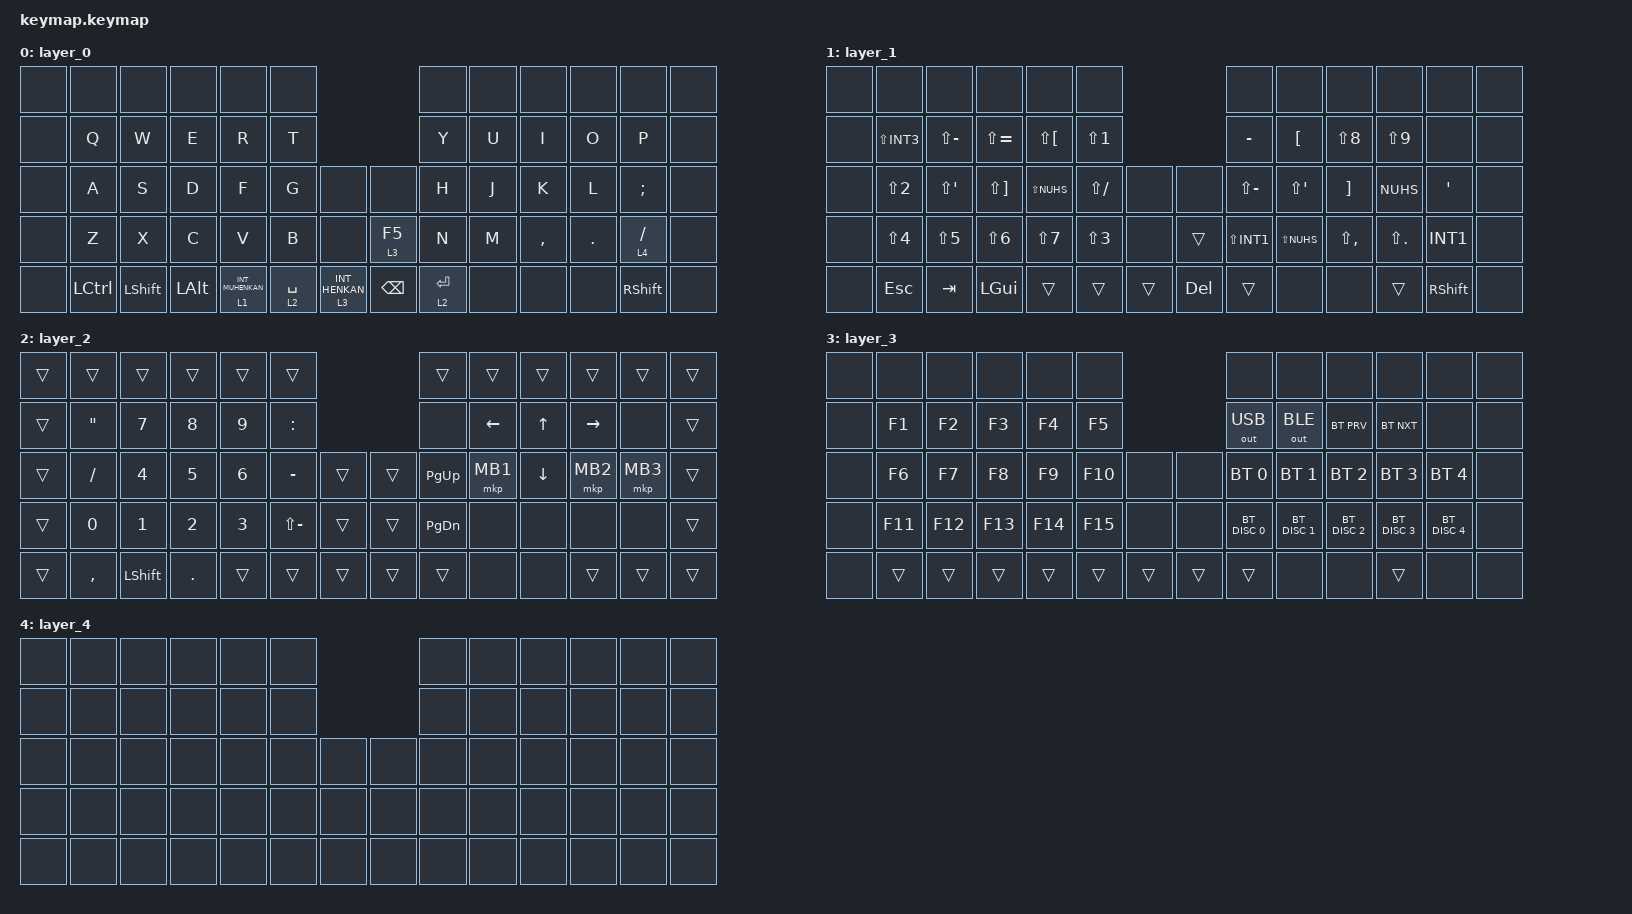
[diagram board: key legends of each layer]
#include <input/processors.dtsi>
#include <behaviors.dtsi>
#include <dt-bindings/zmk/bt.h>
#include <dt-bindings/zmk/keys.h>
#include <dt-bindings/zmk/outputs.h>
#include <dt-bindings/zmk/pointing.h>

/ {
    combos {
        compatible = "zmk,combos";

        bt_clear {
            bindings = <&bt BT_CLR>;
            key-positions = <28 29>;
            layers = <2>;
        };
    };

    keymap {
        compatible = "zmk,keymap";

        layer_0 {
            bindings = <
&none  &none      &none      &none     &none               &none                                         &none        &none  &none      &none    &none            &none
&none  &kp Q      &kp W      &kp E     &kp R               &kp T                                         &kp Y        &kp U  &kp I      &kp O    &kp P            &none
&none  &kp A      &kp S      &kp D     &kp F               &kp G        &none             &none          &kp H        &kp J  &kp K      &kp L    &kp SEMI         &none
&none  &kp Z      &kp X      &kp C     &kp V               &kp B        &none             &lt 3 F5       &kp N        &kp M  &kp COMMA  &kp DOT  &lt 4 SLASH      &none
&none  &kp LCTRL  &kp LSHFT  &kp LALT  &lt 1 INT_MUHENKAN  &lt 2 SPACE  &lt 3 INT_HENKAN  &kp BACKSPACE  &lt 2 ENTER  &none  &none      &none    &kp RIGHT_SHIFT  &none
            >;
        };

        layer_1 {
            bindings = <
&none  &none         &none          &none          &none         &none                             &none          &none         &none          &none        &none            &none
&none  &kp LS(INT3)  &kp LS(MINUS)  &kp LS(EQUAL)  &kp LS(LBKT)  &kp LS(N1)                        &kp MINUS      &kp LBKT      &kp LS(N8)     &kp LS(N9)   &none            &none
&none  &kp LS(N2)    &kp LS(SQT)    &kp LS(RBKT)   &kp LS(NUHS)  &kp LS(FSLH)  &none   &none       &kp LS(MINUS)  &kp LS(SQT)   &kp RBKT       &kp NUHS     &kp SQT          &none
&none  &kp LS(N4)    &kp LS(N5)     &kp LS(N6)     &kp LS(N7)    &kp LS(N3)    &none   &trans      &kp LS(INT1)   &kp LS(NUHS)  &kp LS(COMMA)  &kp LS(DOT)  &kp INT1         &none
&none  &kp ESCAPE    &kp TAB        &kp LEFT_GUI   &trans        &trans        &trans  &kp DELETE  &trans         &none         &none          &trans       &kp RIGHT_SHIFT  &none
            >;
        };

        layer_2 {
            bindings = <
&trans  &trans             &trans          &trans      &trans  &trans                         &trans         &trans          &trans          &trans           &trans    &trans
&trans  &kp DOUBLE_QUOTES  &kp N7          &kp N8      &kp N9  &kp COLON                      &none          &kp LEFT_ARROW  &kp UP_ARROW    &kp RIGHT_ARROW  &none     &trans
&trans  &kp SLASH          &kp N4          &kp N5      &kp N6  &kp MINUS      &trans  &trans  &kp PAGE_UP    &mkp MB1        &kp DOWN_ARROW  &mkp MB2         &mkp MB3  &trans
&trans  &kp N0             &kp N1          &kp N2      &kp N3  &kp LS(MINUS)  &trans  &trans  &kp PAGE_DOWN  &none           &none           &none            &none     &trans
&trans  &kp COMMA          &kp LEFT_SHIFT  &kp PERIOD  &trans  &trans         &trans  &trans  &trans         &none           &none           &trans           &trans    &trans
            >;
        };

        layer_3 {
            bindings = <
&none  &none    &none    &none    &none    &none                    &none          &none          &none          &none          &none          &none
&none  &kp F1   &kp F2   &kp F3   &kp F4   &kp F5                   &out OUT_USB   &out OUT_BLE   &bt BT_PRV     &bt BT_NXT     &none          &none
&none  &kp F6   &kp F7   &kp F8   &kp F9   &kp F10  &none   &none   &bt BT_SEL 0   &bt BT_SEL 1   &bt BT_SEL 2   &bt BT_SEL 3   &bt BT_SEL 4   &none
&none  &kp F11  &kp F12  &kp F13  &kp F14  &kp F15  &none   &none   &bt BT_DISC 0  &bt BT_DISC 1  &bt BT_DISC 2  &bt BT_DISC 3  &bt BT_DISC 4  &none
&none  &trans   &trans   &trans   &trans   &trans   &trans  &trans  &trans         &none          &none          &trans         &none          &none
            >;
        };

        layer_4 {
            bindings = <
&none  &none  &none  &none  &none  &none                &none  &none  &none  &none  &none  &none
&none  &none  &none  &none  &none  &none                &none  &none  &none  &none  &none  &none
&none  &none  &none  &none  &none  &none  &none  &none  &none  &none  &none  &none  &none  &none
&none  &none  &none  &none  &none  &none  &none  &none  &none  &none  &none  &none  &none  &none
&none  &none  &none  &none  &none  &none  &none  &none  &none  &none  &none  &none  &none  &none
            >;
        };
    };
};
